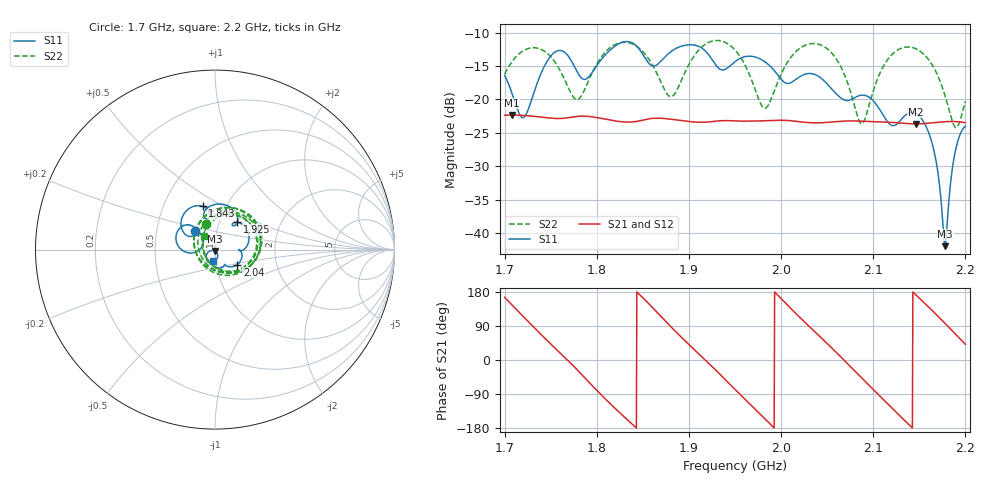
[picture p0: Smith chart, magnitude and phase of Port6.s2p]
# Hz S RI R 50
! CMT, CMT808U, 21440046, 21.4.3/4
! Date: 6/12/2026 9:28:41 AM
! Data: Format (Calibration Info)
! Freq	S11:Re/Im(F2)	S41:Re/Im(F2)	S14:Re/Im(F2)	S44:Re/Im(F2)
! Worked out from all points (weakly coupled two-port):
!   1001 points, 1.7 GHz to 2.2 GHz, reference 50 ohm
!   highest |S21| = -22.35 dB at 1.708 GHz (marker M1); lowest = -23.7 dB at 2.146 GHz (marker M2)
!   lowest |S11| = -42.0 dB at 2.178 GHz (marker M3), VSWR 1.02, Z = 49.7 - j0.743 ohm
!   |S11| at or under -10 dB: start of sweep to end of sweep
!   |S22| runs from -24.2 to -11.2 dB; largest |S21 - S12| = 0.0013
!   S11 on the Smith chart (normalised r, x): 1.7 GHz: 0.78, +0.16; 1.843 GHz: 0.78, +0.40; 1.925 GHz: 1.22, +0.39; 2.04 GHz: 1.26, -0.22; 2.2 GHz: 0.97, -0.12
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1.7e9  -0.1117 0.1009  -0.0736 0.0192  -0.0736 0.0181  -0.0523 0.1448
1.7075e9  -0.0774 0.0831  -0.0638 0.0419  -0.0641 0.0408  0.00471 0.1891
1.721e9  -0.0705 0.0202  -0.0295 0.0697  -0.0304 0.069  0.1338 0.1903
1.742e9  -0.1703 -0.0108  0.0351 0.0644  0.034 0.0646  0.2312 0.0183
1.7615e9  -0.2042 0.1093  0.0692 0.0197  0.0685 0.0207  0.0971 -0.1248
1.7835e9  -0.1079 0.0957  0.0591 -0.0461  0.0595 -0.0449  -0.1057 -0.014
1.8135e9  -0.1888 0.1325  -0.0272 -0.0647  -0.0261 -0.0649  0.0596 0.2334
1.843e9  -0.0695 0.2417  -0.0683 -0.000666  -0.068 -0.00169  0.2498 0.0071
1.867e9  -0.0575 0.1762  -0.0377 0.0617  -0.0386 0.0608  0.0409 -0.1415
1.892e9  -0.00627 0.25  0.035 0.0599  0.0339 0.0602  -0.1125 0.0825
1.925e9  0.1252 0.1548  0.0653 -0.0196  0.0654 -0.0184  0.1909 0.1946
1.95e9  0.1161 0.1524  0.0149 -0.0673  0.016 -0.0669  0.2273 -0.0554
1.9825e9  0.1866 0.0404  -0.0627 -0.0292  -0.062 -0.0302  -0.0761 -0.0393
2.0335e9  0.1423 -0.0628  0.00947 0.066  0.00828 0.0661  0.2313 0.1217
2.04e9  0.1241 -0.0837  0.0262 0.0613  0.0251 0.0617  0.2521 0.0602
2.087e9  0.0388 -0.1001  0.0474 -0.0496  0.0482 -0.0487  -0.0594 -0.0282
2.117e9  -0.00984 -0.0655  -0.0325 -0.0591  -0.0314 -0.0595  0.0674 0.1927
2.146e9  -0.0376 -0.0691  -0.065 0.00833  -0.0651 0.00718  0.2381 0.0255
2.165e9  -0.0404 -0.0168  -0.0414 0.0525  -0.0422 0.0517  0.1364 -0.1115
2.178e9  -0.00275 -0.00747  -0.00761 0.0677  -0.00881 0.0674  0.0153 -0.1047
2.1885e9  0.0155 -0.0359  0.0233 0.0641  0.0221 0.0644  -0.0532 -0.0324
2.2e9  -0.0113 -0.0619  0.0502 0.0443  0.0494 0.0451  -0.0588 0.0767
